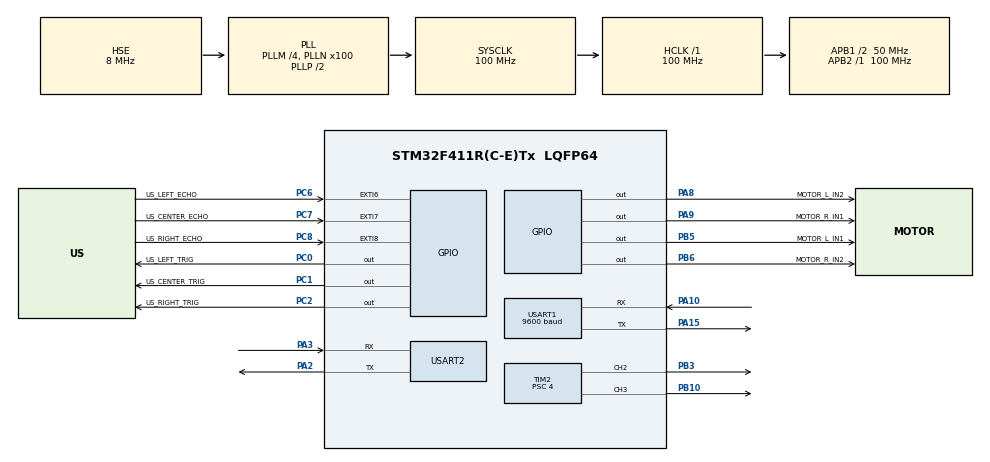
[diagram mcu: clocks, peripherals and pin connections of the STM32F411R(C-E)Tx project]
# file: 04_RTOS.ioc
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FREERTOS.Queues01=manualCmdQueue,8,uint8_t,0,Dynamic,NULL,NULL
FREERTOS.Tasks01=ControlTask,32,256,StartControlTask,Default,NULL,Dynamic,NULL,NULL;UltrasonicTask,24,256,StartUltrasonicTask,Default,NULL,Dynamic,NULL,NULL;BluetoothTask,24,256,StartBluetoothTask,Default,NULL,Dynamic,NULL,NULL;LoggerTask,8,384,StartLoggerTask,Default,NULL,Dynamic,NULL,NULL
FREERTOS.configUSE_NEWLIB_REENTRANT=1
Mcu.Family=STM32F4
Mcu.Name=STM32F411R(C-E)Tx
Mcu.Package=LQFP64
NVIC.EXTI9_5_IRQn=true\:5\:0\:false\:false\:true\:true\:true\:true\:true
NVIC.PriorityGroup=NVIC_PRIORITYGROUP_4
NVIC.TIM5_IRQn=true\:15\:0\:false\:false\:true\:false\:false\:true\:true
NVIC.TimeBase=TIM5_IRQn
NVIC.TimeBaseIP=TIM5
PA10.Mode=Asynchronous
PA10.Signal=USART1_RX
PA13.Mode=Serial_Wire
PA13.Signal=SYS_JTMS-SWDIO
PA14.Mode=Serial_Wire
PA14.Signal=SYS_JTCK-SWCLK
PA15.Mode=Asynchronous
PA15.Signal=USART1_TX
PA2.Mode=Asynchronous
PA2.Signal=USART2_TX
PA3.Mode=Asynchronous
PA3.Signal=USART2_RX
PA8.GPIO_Label=MOTOR_L_IN2
PA8.Signal=GPIO_Output
PA9.GPIO_Label=MOTOR_R_IN1
PA9.Signal=GPIO_Output
PB10.Signal=S_TIM2_CH3
PB3.Signal=S_TIM2_CH2
PB5.GPIO_Label=MOTOR_L_IN1
PB5.Signal=GPIO_Output
PB6.GPIO_Label=MOTOR_R_IN2
PB6.Signal=GPIO_Output
PC0.GPIO_Label=US_LEFT_TRIG
PC0.Signal=GPIO_Output
PC1.GPIO_Label=US_CENTER_TRIG
PC1.Signal=GPIO_Output
PC2.GPIO_Label=US_RIGHT_TRIG
PC2.Signal=GPIO_Output
PC6.GPIO_Label=US_LEFT_ECHO
PC6.GPIO_ModeDefaultEXTI=GPIO_MODE_IT_RISING_FALLING
PC6.Signal=GPXTI6
PC7.GPIO_Label=US_CENTER_ECHO
PC7.GPIO_ModeDefaultEXTI=GPIO_MODE_IT_RISING_FALLING
PC7.Signal=GPXTI7
PC8.GPIO_Label=US_RIGHT_ECHO
PC8.GPIO_ModeDefaultEXTI=GPIO_MODE_IT_RISING_FALLING
PC8.Signal=GPXTI8
PH0\ -\ OSC_IN.Mode=HSE-External-Clock-Source
PH0\ -\ OSC_IN.Signal=RCC_OSC_IN
PH1\ -\ OSC_OUT.Mode=HSE-External-Clock-Source
PH1\ -\ OSC_OUT.Signal=RCC_OSC_OUT
ProjectManager.HeapSize=0x200
ProjectManager.StackSize=0x400
ProjectManager.TargetToolchain=STM32CubeIDE
RCC.48MHZClocksFreq_Value=50000000
RCC.AHBFreq_Value=100000000
RCC.APB1CLKDivider=RCC_HCLK_DIV2
RCC.APB1Freq_Value=50000000
RCC.APB1TimFreq_Value=100000000
RCC.APB2Freq_Value=100000000
RCC.APB2TimFreq_Value=100000000
RCC.CortexFreq_Value=100000000
RCC.HCLKFreq_Value=100000000
RCC.HSE_VALUE=8000000
RCC.HSI_VALUE=16000000
RCC.LSE_VALUE=32768
RCC.PLLM=4
RCC.PLLN=100
RCC.PLLSourceVirtual=RCC_PLLSOURCE_HSE
RCC.SYSCLKFreq_VALUE=100000000
RCC.SYSCLKSource=RCC_SYSCLKSOURCE_PLLCLK
RCC.VCOOutputFreq_Value=200000000
SH.S_TIM2_CH2.0=TIM2_CH2,PWM Generation2 CH2
SH.S_TIM2_CH3.0=TIM2_CH3,PWM Generation3 CH3
TIM2.AutoReloadPreload=TIM_AUTORELOAD_PRELOAD_ENABLE
TIM2.Channel-PWM\ Generation2\ CH2=TIM_CHANNEL_2
TIM2.Channel-PWM\ Generation3\ CH3=TIM_CHANNEL_3
TIM2.Period=999
TIM2.Prescaler=4
TIM4.Prescaler=100-1
USART1.BaudRate=9600
USART1.VirtualMode=VM_ASYNC
USART2.VirtualMode=VM_ASYNC
VP_FREERTOS_VS_CMSIS_V2.Mode=CMSIS_V2
VP_SYS_VS_tim5.Mode=TIM5
VP_TIM2_VS_ClockSourceINT.Mode=Internal
VP_TIM4_VS_ClockSourceINT.Mode=Internal
board=custom

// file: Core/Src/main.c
/* USER CODE BEGIN Header */
/**
  ******************************************************************************
  * @file           : main.c
  * @brief          : Main program body
  ******************************************************************************
  * @attention
  *
  * Copyright (c) 2026 STMicroelectronics.
  * All rights reserved.
  *
  * This software is licensed under terms that can be found in the LICENSE file
  * in the root directory of this software component.
  * If no LICENSE file comes with this software, it is provided AS-IS.
  *
  ******************************************************************************
  */
/* USER CODE END Header */
#include "main.h"
#include "cmsis_os.h"
#include "tim.h"
#include "usart.h"
#include "gpio.h"

/* USER CODE BEGIN Includes */

#include "ultrasonic.h"

/* USER CODE END Includes */

void SystemClock_Config(void);
void MX_FREERTOS_Init(void);

int main(void)
{

  /* MCU Configuration--------------------------------------------------------*/

  /* Reset of all peripherals, Initializes the Flash interface and the Systick. */
  HAL_Init();

  /* Configure the system clock */
  SystemClock_Config();

  /* Initialize all configured peripherals */
  MX_GPIO_Init();
  MX_USART2_UART_Init();
  MX_TIM2_Init();
  MX_TIM4_Init();
  MX_USART1_UART_Init();

  /* Init scheduler */
  osKernelInitialize();  /* Call init function for freertos objects (in cmsis_os2.c) */
  MX_FREERTOS_Init();

  /* Start scheduler */
  osKernelStart();

  /* We should never get here as control is now taken by the scheduler */

  /* Infinite loop */
  while (1)
  {

  }
}

void SystemClock_Config(void)
{
  RCC_OscInitTypeDef RCC_OscInitStruct = {0};
  RCC_ClkInitTypeDef RCC_ClkInitStruct = {0};

  /** Configure the main internal regulator output voltage
  */
  __HAL_RCC_PWR_CLK_ENABLE();
  __HAL_PWR_VOLTAGESCALING_CONFIG(PWR_REGULATOR_VOLTAGE_SCALE1);

  /** Initializes the RCC Oscillators according to the specified parameters
  * in the RCC_OscInitTypeDef structure.
  */
  RCC_OscInitStruct.OscillatorType = RCC_OSCILLATORTYPE_HSE;
  RCC_OscInitStruct.HSEState = RCC_HSE_BYPASS;
  RCC_OscInitStruct.PLL.PLLState = RCC_PLL_ON;
  RCC_OscInitStruct.PLL.PLLSource = RCC_PLLSOURCE_HSE;
  RCC_OscInitStruct.PLL.PLLM = 4;
  RCC_OscInitStruct.PLL.PLLN = 100;
  RCC_OscInitStruct.PLL.PLLP = RCC_PLLP_DIV2;
  RCC_OscInitStruct.PLL.PLLQ = 4;
  if (HAL_RCC_OscConfig(&RCC_OscInitStruct) != HAL_OK)
  {
    Error_Handler();
  }

  /** Initializes the CPU, AHB and APB buses clocks
  */
  RCC_ClkInitStruct.ClockType = RCC_CLOCKTYPE_HCLK|RCC_CLOCKTYPE_SYSCLK
                              |RCC_CLOCKTYPE_PCLK1|RCC_CLOCKTYPE_PCLK2;
  RCC_ClkInitStruct.SYSCLKSource = RCC_SYSCLKSOURCE_PLLCLK;
  RCC_ClkInitStruct.AHBCLKDivider = RCC_SYSCLK_DIV1;
  RCC_ClkInitStruct.APB1CLKDivider = RCC_HCLK_DIV2;
  RCC_ClkInitStruct.APB2CLKDivider = RCC_HCLK_DIV1;

  if (HAL_RCC_ClockConfig(&RCC_ClkInitStruct, FLASH_LATENCY_3) != HAL_OK)
  {
    Error_Handler();
  }
}

/* USER CODE BEGIN 4 */

void HAL_GPIO_EXTI_Callback(uint16_t GPIO_Pin)
{
  Ultrasonic_EXTI_Callback(GPIO_Pin);
}

/* USER CODE END 4 */

void HAL_TIM_PeriodElapsedCallback(TIM_HandleTypeDef *htim)
{
  if (htim->Instance == TIM5)
  {
    HAL_IncTick();
  }
}

void Error_Handler(void)
{
  __disable_irq();
  while (1)
  {
  }
}

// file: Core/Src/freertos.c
/* USER CODE BEGIN Header */
/**
  ******************************************************************************
  * File Name          : freertos.c
  * Description        : Code for freertos applications
  ******************************************************************************
  * @attention
  *
  * Copyright (c) 2026 STMicroelectronics.
  * All rights reserved.
  *
  * This software is licensed under terms that can be found in the LICENSE file
  * in the root directory of this software component.
  * If no LICENSE file comes with this software, it is provided AS-IS.
  *
  ******************************************************************************
  */
/* USER CODE END Header */

#include "FreeRTOS.h"
#include "task.h"
#include "main.h"
#include "cmsis_os.h"

/* USER CODE BEGIN Includes */

#include "usart.h"
#include "tim.h"
#include "pwm.h"
#include "move.h"
#include "ultrasonic.h"
#include "sensor_data.h"

#include <string.h>
#include <stdio.h>

/* USER CODE END Includes */

/* USER CODE BEGIN PTD */

typedef enum
{
  DRIVE_MODE_MANUAL = 0,
  DRIVE_MODE_AUTO
} DriveMode_t;

typedef enum
{
  AUTO_STATE_STOPPED = 0,
  AUTO_STATE_DRIVE,
  AUTO_STATE_STOP_BEFORE_TURN,
  AUTO_STATE_PIVOT_LEFT,
  AUTO_STATE_PIVOT_RIGHT,
  AUTO_STATE_STOP_AFTER_TURN,
  AUTO_STATE_SAFE_STOP
} AutoState_t;

typedef enum
{
  SIDE_AVOID_NONE = 0,
  SIDE_AVOID_LEFT_WALL,
  SIDE_AVOID_RIGHT_WALL
} SideAvoid_t;

/* USER CODE END PTD */

/* USER CODE BEGIN PD */

// AUTO 설정값
#define AUTO_FRONT_STOP_CM             30U
//#define AUTO_FRONT_RESUME_CM           40U
#define AUTO_TURN_CLEAR_CM             45U

#define AUTO_CENTER_MAX_AGE_MS        300U
#define AUTO_SIDE_MAX_AGE_MS          500U

#define AUTO_SIDE_MIN_CLEAR_CM         20U
#define AUTO_SIDE_DIFF_CM               8U

#define AUTO_SIDE_AVOID_ENTER_CM       18U
#define AUTO_SIDE_AVOID_EXIT_CM        23U

#define AUTO_SIDE_AVOID_INNER_PWM      64U
#define AUTO_SIDE_AVOID_OUTER_PWM      74U

#define AUTO_STOP_BEFORE_TURN_MS      150U
#define AUTO_PIVOT_MIN_MS             250U
#define AUTO_PIVOT_MAX_MS            1500U
#define AUTO_STOP_AFTER_TURN_MS       120U

#define AUTO_PIVOT_SPEED_PERCENT       63U

#define AUTO_TURN_DECISION_TIMEOUT_MS 1200U

/* USER CODE END PD */

/* USER CODE BEGIN Variables */

osMessageQueueId_t sensorDataQueueHandle;

/* USER CODE END Variables */
/* Definitions for ControlTask */
osThreadId_t ControlTaskHandle;
const osThreadAttr_t ControlTask_attributes = {
  .name = "ControlTask",
  .stack_size = 256 * 4,
  .priority = (osPriority_t) osPriorityAboveNormal,
};
/* Definitions for UltrasonicTask */
osThreadId_t UltrasonicTaskHandle;
const osThreadAttr_t UltrasonicTask_attributes = {
  .name = "UltrasonicTask",
  .stack_size = 256 * 4,
  .priority = (osPriority_t) osPriorityNormal,
};
/* Definitions for BluetoothTask */
osThreadId_t BluetoothTaskHandle;
const osThreadAttr_t BluetoothTask_attributes = {
  .name = "BluetoothTask",
  .stack_size = 256 * 4,
  .priority = (osPriority_t) osPriorityNormal,
};
/* Definitions for LoggerTask */
osThreadId_t LoggerTaskHandle;
const osThreadAttr_t LoggerTask_attributes = {
  .name = "LoggerTask",
  .stack_size = 384 * 4,
  .priority = (osPriority_t) osPriorityLow,
};
/* Definitions for manualCmdQueue */
osMessageQueueId_t manualCmdQueueHandle;
const osMessageQueueAttr_t manualCmdQueue_attributes = {
  .name = "manualCmdQueue"
};

void StartControlTask(void *argument);
void StartUltrasonicTask(void *argument);
void StartBluetoothTask(void *argument);
void StartLoggerTask(void *argument);

void MX_FREERTOS_Init(void); /* (MISRA C 2004 rule 8.1) */

void MX_FREERTOS_Init(void) {

  /* Create the queue(s) */
  /* creation of manualCmdQueue */
  manualCmdQueueHandle = osMessageQueueNew (8, sizeof(uint8_t), &manualCmdQueue_attributes);

  /* USER CODE BEGIN RTOS_QUEUES */

  sensorDataQueueHandle =
      osMessageQueueNew(
          4U,
          sizeof(SensorData_t),
          NULL);

  /* add queues, ... */
  /* USER CODE END RTOS_QUEUES */

  /* Create the thread(s) */
  /* creation of ControlTask */
  ControlTaskHandle = osThreadNew(StartControlTask, NULL, &ControlTask_attributes);

  /* creation of UltrasonicTask */
  UltrasonicTaskHandle = osThreadNew(StartUltrasonicTask, NULL, &UltrasonicTask_attributes);

  /* creation of BluetoothTask */
  BluetoothTaskHandle = osThreadNew(StartBluetoothTask, NULL, &BluetoothTask_attributes);

  /* creation of LoggerTask */
  LoggerTaskHandle = osThreadNew(StartLoggerTask, NULL, &LoggerTask_attributes);

}

void StartControlTask(void *argument)
{
  /* USER CODE BEGIN StartControlTask */
  /* Infinite loop */

	  uint8_t command;

	  SensorData_t latest_sensor;
	  bool has_sensor_data = false;

	  DriveMode_t drive_mode =
	      DRIVE_MODE_MANUAL;

	  AutoState_t auto_state =
	      AUTO_STATE_STOPPED;

	  bool auto_run_enabled = false;

	  bool left_ok;
	  bool right_ok;

	  bool left_fresh;
	  bool right_fresh;

	  SideAvoid_t side_avoid =
	      SIDE_AVOID_NONE;

	  uint32_t now;
	  uint32_t state_tick = 0U;
	  uint32_t elapsed;

	  uint32_t center_sample_tick;
	  uint32_t last_center_sample_tick =
	      UINT32_MAX;

	  uint8_t turn_clear_count = 0U;

	  if (PWM_Init(&htim2) != HAL_OK)
	  {
	    Move_Stop();

	    for (;;)
	    {
	      osDelay(1000);
	    }
	  }

	  Move_Init();

	  /* MANUAL 기본 속도 */
	  Move_SetSpeed(60U);

	  Move_Stop();

	  for (;;)
	  {
	    now = HAL_GetTick();
	    Move_Task();

	    while (osMessageQueueGet(
	               sensorDataQueueHandle,
	               &latest_sensor,
	               NULL,
	               0U) == osOK)
	    {
	      has_sensor_data = true;
	    }

	    while (osMessageQueueGet(
	               manualCmdQueueHandle,
	               &command,
	               NULL,
	               0U) == osOK)
	    {
	      switch (command)
	      {
	        case 'm':
	        case 'M':

	          Move_Stop();

	          drive_mode =
	              DRIVE_MODE_MANUAL;

	          auto_run_enabled = false;

	          auto_state =
	              AUTO_STATE_STOPPED;

	          side_avoid =
	              SIDE_AVOID_NONE;

	          turn_clear_count = 0U;

	          Move_SetSpeed(75U);

	          break;

	        case 'u':
	        case 'U':

	          Move_Stop();

	          drive_mode =
	              DRIVE_MODE_AUTO;

	          auto_run_enabled = true;

	          auto_state =
	              AUTO_STATE_STOPPED;

	          side_avoid =
	              SIDE_AVOID_NONE;

	          state_tick = now;

	          turn_clear_count = 0U;

	          Move_SetSpeed(74U);

	          break;

	        case 'x':
	        case 'X':

	          Move_Stop();

	          if (drive_mode ==
	              DRIVE_MODE_AUTO)
	          {
	            auto_run_enabled = false;

	            auto_state =
	                AUTO_STATE_STOPPED;
	          }

	          side_avoid =
	              SIDE_AVOID_NONE;

	          break;

	        case 'w':
	        case 'W':

	          if (drive_mode ==
	              DRIVE_MODE_MANUAL)
	          {
	            Move_Forward();
	          }

	          break;

	        case 's':
	        case 'S':

	          if (drive_mode ==
	              DRIVE_MODE_MANUAL)
	          {
	            Move_Backward();
	          }

	          break;

	        case 'a':
	        case 'A':

	          if (drive_mode ==
	              DRIVE_MODE_MANUAL)
	          {
	            Move_Left();
	          }

	          break;

	        case 'd':
	        case 'D':

	          if (drive_mode ==
	              DRIVE_MODE_MANUAL)
	          {
	            Move_Right();
	          }

	          break;

	        default:
	          break;
	      }
	    }

	    if (drive_mode == DRIVE_MODE_AUTO)
	    {
	      if (!auto_run_enabled)
	      {
	        Move_Stop();
	      }

	      else if (!has_sensor_data ||
	               !latest_sensor.center_valid ||
	               latest_sensor.center_timeout ||
	               (latest_sensor.center_age_ms >
	                AUTO_CENTER_MAX_AGE_MS))
	      {
	        Move_Stop();
	      }

	      else
	      {
	        switch (auto_state)
	        {
	          case AUTO_STATE_STOPPED:

	            Move_Stop();

	            if (latest_sensor.center_cm >
	                AUTO_FRONT_STOP_CM)
	            {
	              auto_state =
	                  AUTO_STATE_DRIVE;

	              Move_Forward();
	            }
	            else
	            {
	              auto_state =
	                  AUTO_STATE_STOP_BEFORE_TURN;

	              state_tick = now;
	            }

	            break;

	          case AUTO_STATE_DRIVE:
	            if (latest_sensor.center_cm <=
	                AUTO_FRONT_STOP_CM)
	            {
	              Move_Stop();

	              side_avoid =
	                  SIDE_AVOID_NONE;

	              auto_state =
	                  AUTO_STATE_STOP_BEFORE_TURN;

	              state_tick = now;

	              break;
	            }

	            left_fresh =
	                latest_sensor.left_valid &&
	                !latest_sensor.left_timeout &&
	                (latest_sensor.left_age_ms <=
	                 AUTO_SIDE_MAX_AGE_MS);

	            right_fresh =
	                latest_sensor.right_valid &&
	                !latest_sensor.right_timeout &&
	                (latest_sensor.right_age_ms <=
	                 AUTO_SIDE_MAX_AGE_MS);

	            if (side_avoid ==
	                SIDE_AVOID_LEFT_WALL)
	            {
	              if ((!left_fresh) ||
	                  (latest_sensor.left_cm >=
	                   AUTO_SIDE_AVOID_EXIT_CM))
	              {
	                side_avoid =
	                    SIDE_AVOID_NONE;
	              }
	            }
	            else if (side_avoid ==
	                     SIDE_AVOID_RIGHT_WALL)
	            {
	              if ((!right_fresh) ||
	                  (latest_sensor.right_cm >=
	                   AUTO_SIDE_AVOID_EXIT_CM))
	              {
	                side_avoid =
	                    SIDE_AVOID_NONE;
	              }
	            }

	            if (side_avoid ==
	                SIDE_AVOID_NONE)
	            {
	              if (left_fresh &&
	                  right_fresh &&
	                  (latest_sensor.left_cm <=
	                   AUTO_SIDE_AVOID_ENTER_CM) &&
	                  (latest_sensor.right_cm <=
	                   AUTO_SIDE_AVOID_ENTER_CM))
	              {
	                if (latest_sensor.left_cm <
	                    latest_sensor.right_cm)
	                {
	                  side_avoid =
	                      SIDE_AVOID_LEFT_WALL;
	                }
	                else if (latest_sensor.right_cm <
	                         latest_sensor.left_cm)
	                {
	                  side_avoid =
	                      SIDE_AVOID_RIGHT_WALL;
	                }
	              }
	              else if (left_fresh &&
	                       (latest_sensor.left_cm <=
	                        AUTO_SIDE_AVOID_ENTER_CM))
	              {
	                side_avoid =
	                    SIDE_AVOID_LEFT_WALL;
	              }
	              else if (right_fresh &&
	                       (latest_sensor.right_cm <=
	                        AUTO_SIDE_AVOID_ENTER_CM))
	              {
	                side_avoid =
	                    SIDE_AVOID_RIGHT_WALL;
	              }
	            }

	            if (side_avoid ==
	                SIDE_AVOID_LEFT_WALL)
	            {

	              Move_ForwardPWM(
	                  AUTO_SIDE_AVOID_OUTER_PWM,
	                  AUTO_SIDE_AVOID_INNER_PWM);
	            }
	            else if (side_avoid ==
	                     SIDE_AVOID_RIGHT_WALL)
	            {

	              Move_ForwardPWM(
	                  AUTO_SIDE_AVOID_INNER_PWM,
	                  AUTO_SIDE_AVOID_OUTER_PWM);
	            }
	            else
	            {
	              Move_Forward();
	            }

	            break;

	          case AUTO_STATE_STOP_BEFORE_TURN:

	            Move_Stop();

	            elapsed =
	                (uint32_t)(now - state_tick);

	            if (elapsed <
	                AUTO_STOP_BEFORE_TURN_MS)
	            {
	              break;
	            }

	            left_ok =
	                latest_sensor.left_valid &&
	                !latest_sensor.left_timeout &&
	                (latest_sensor.left_age_ms <=
	                 AUTO_SIDE_MAX_AGE_MS) &&
	                (latest_sensor.left_cm >=
	                 AUTO_SIDE_MIN_CLEAR_CM);

	            right_ok =
	                latest_sensor.right_valid &&
	                !latest_sensor.right_timeout &&
	                (latest_sensor.right_age_ms <=
	                 AUTO_SIDE_MAX_AGE_MS) &&
	                (latest_sensor.right_cm >=
	                 AUTO_SIDE_MIN_CLEAR_CM);

	            if (left_ok && right_ok)
	            {
	              if (latest_sensor.left_cm >=
	                  (uint16_t)(
	                      latest_sensor.right_cm +
	                      AUTO_SIDE_DIFF_CM))
	              {
	                auto_state =
	                    AUTO_STATE_PIVOT_LEFT;
	              }

	              else if (latest_sensor.right_cm >=
	                       (uint16_t)(
	                           latest_sensor.left_cm +
	                           AUTO_SIDE_DIFF_CM))
	              {
	                auto_state =
	                    AUTO_STATE_PIVOT_RIGHT;
	              }

	              else
	              {
	                if (elapsed <
	                    AUTO_TURN_DECISION_TIMEOUT_MS)
	                {
	                  break;
	                }

	                if (latest_sensor.left_cm >
	                    latest_sensor.right_cm)
	                {
	                  auto_state =
	                      AUTO_STATE_PIVOT_LEFT;
	                }
	                else
	                {
	                  auto_state =
	                      AUTO_STATE_PIVOT_RIGHT;
	                }
	              }
	            }

	            else if (left_ok)
	            {
	              auto_state =
	                  AUTO_STATE_PIVOT_LEFT;
	            }

	            else if (right_ok)
	            {
	              auto_state =
	                  AUTO_STATE_PIVOT_RIGHT;
	            }

	            else
	            {
	              Move_Stop();

	              if (elapsed <
	                  AUTO_TURN_DECISION_TIMEOUT_MS)
	              {
	                break;
	              }

	              if (latest_sensor.left_cm >
	                  latest_sensor.right_cm)
	              {
	                auto_state =
	                    AUTO_STATE_PIVOT_LEFT;
	              }
	              else
	              {
	                auto_state =
	                    AUTO_STATE_PIVOT_RIGHT;
	              }
	            }

	            state_tick = now;

	            turn_clear_count = 0U;

	            last_center_sample_tick =
	                now -
	                latest_sensor.center_age_ms;

	            if (auto_state ==
	                AUTO_STATE_PIVOT_LEFT)
	            {
	              Move_PivotLeft(
	                  AUTO_PIVOT_SPEED_PERCENT);
	            }
	            else
	            {
	              Move_PivotRight(
	                  AUTO_PIVOT_SPEED_PERCENT);
	            }

	            break;

	          case AUTO_STATE_PIVOT_LEFT:

	            elapsed =
	                (uint32_t)(now - state_tick);

	            if (elapsed >=
	                AUTO_PIVOT_MAX_MS)
	            {
	              Move_Stop();

	              auto_state =
	                  AUTO_STATE_SAFE_STOP;

	              auto_run_enabled = false;

	              break;
	            }

	            if (elapsed >=
	                AUTO_PIVOT_MIN_MS)
	            {
	              center_sample_tick =
	                  now -
	                  latest_sensor.center_age_ms;

	              if (center_sample_tick !=
	                  last_center_sample_tick)
	              {
	                last_center_sample_tick =
	                    center_sample_tick;

	                if (latest_sensor.center_cm >=
	                    AUTO_TURN_CLEAR_CM)
	                {
	                  if (turn_clear_count < 2U)
	                  {
	                    turn_clear_count++;
	                  }
	                }
	                else
	                {
	                  turn_clear_count = 0U;
	                }
	              }

	              if (turn_clear_count >= 2U)
	              {
	                Move_Stop();

	                auto_state =
	                    AUTO_STATE_STOP_AFTER_TURN;

	                state_tick = now;

	                turn_clear_count = 0U;
	              }
	            }

	            break;

	          case AUTO_STATE_PIVOT_RIGHT:

	            elapsed =
	                (uint32_t)(now - state_tick);

	            if (elapsed >=
	                AUTO_PIVOT_MAX_MS)
	            {
	              Move_Stop();

	              auto_state =
	                  AUTO_STATE_SAFE_STOP;

	              auto_run_enabled = false;

	              break;
	            }

	            if (elapsed >=
	                AUTO_PIVOT_MIN_MS)
	            {
	              center_sample_tick =
	                  now -
	                  latest_sensor.center_age_ms;

	              if (center_sample_tick !=
	                  last_center_sample_tick)
	              {
	                last_center_sample_tick =
	                    center_sample_tick;

	                if (latest_sensor.center_cm >=
	                    AUTO_TURN_CLEAR_CM)
	                {
	                  if (turn_clear_count < 2U)
	                  {
	                    turn_clear_count++;
	                  }
	                }
	                else
	                {
	                  turn_clear_count = 0U;
	                }
	              }

	              if (turn_clear_count >= 2U)
	              {
	                Move_Stop();

	                auto_state =
	                    AUTO_STATE_STOP_AFTER_TURN;

	                state_tick = now;

	                turn_clear_count = 0U;
	              }
	            }

	            break;

	          case AUTO_STATE_STOP_AFTER_TURN:

	        	  Move_Stop();

	        	  elapsed =
	        	      (uint32_t)(now - state_tick);

	        	  if (elapsed >=
	        	      AUTO_STOP_AFTER_TURN_MS)
	        	  {
	        	    if (latest_sensor.center_cm >
	        	        AUTO_FRONT_STOP_CM)
	        	    {
	        	      auto_state =
	        	          AUTO_STATE_DRIVE;

	        	      Move_Forward();
	        	    }
	        	    else
	        	    {

	        	      auto_state =
	        	          AUTO_STATE_STOP_BEFORE_TURN;

	        	      state_tick = now;

	        	      side_avoid =
	        	          SIDE_AVOID_NONE;

	        	      turn_clear_count = 0U;
	        	    }
	        	  }

	        	  break;

	          case AUTO_STATE_SAFE_STOP:
	          default:

	            Move_Stop();

	            auto_run_enabled = false;

	            break;
	        }
	      }
	    }

	    osDelay(2);
	  }

  /* USER CODE END StartControlTask */
}

void StartUltrasonicTask(void *argument)
{
  /* USER CODE BEGIN StartUltrasonicTask */
  /* Infinite loop */

	  UltrasonicReading_t left;
	  UltrasonicReading_t center;
	  UltrasonicReading_t right;

	  SensorData_t sensor_data;
	  SensorData_t discarded_data;

	  if (Ultrasonic_Init(&htim4) != HAL_OK)
	  {
	    for (;;)
	    {
	      osDelay(1000);
	    }
	  }

	  for (;;)
	  {
	    Ultrasonic_Task();

	    Ultrasonic_GetReading(
	        ULTRASONIC_LEFT,
	        &left);

	    Ultrasonic_GetReading(
	        ULTRASONIC_CENTER,
	        &center);

	    Ultrasonic_GetReading(
	        ULTRASONIC_RIGHT,
	        &right);

	    if (left.has_measurement &&
	        center.has_measurement &&
	        right.has_measurement)
	    {
	      sensor_data.left_cm =
	          left.distance_cm;

	      sensor_data.center_cm =
	          center.distance_cm;

	      sensor_data.right_cm =
	          right.distance_cm;

	      sensor_data.left_valid =
	          !left.timeout;

	      sensor_data.center_valid =
	          !center.timeout;

	      sensor_data.right_valid =
	          !right.timeout;

	      sensor_data.left_timeout =
	          left.timeout;

	      sensor_data.center_timeout =
	          center.timeout;

	      sensor_data.right_timeout =
	          right.timeout;

	      sensor_data.left_age_ms =
	          left.age_ms;

	      sensor_data.center_age_ms =
	          center.age_ms;

	      sensor_data.right_age_ms =
	          right.age_ms;

	      if (osMessageQueuePut(
	              sensorDataQueueHandle,
	              &sensor_data,
	              0U,
	              0U) != osOK)
	      {
	        (void)osMessageQueueGet(
	            sensorDataQueueHandle,
	            &discarded_data,
	            NULL,
	            0U);

	        (void)osMessageQueuePut(
	            sensorDataQueueHandle,
	            &sensor_data,
	            0U,
	            0U);
	      }
	    }

	    osDelay(5);
	  }

  /* USER CODE END StartUltrasonicTask */
}

void StartBluetoothTask(void *argument)
{
  /* USER CODE BEGIN StartBluetoothTask */
  /* Infinite loop */

	  uint8_t rx_byte;
	  osStatus_t queue_status;

	  for (;;)
	  {
	    if (HAL_UART_Receive(
	            &huart1,
	            &rx_byte,
	            1U,
	            0U) == HAL_OK)
	    {
	      switch (rx_byte)
	      {
	        case 'w':
	        case 'W':

	        case 's':
	        case 'S':

	        case 'a':
	        case 'A':

	        case 'd':
	        case 'D':

	        case 'x':
	        case 'X':

	        case 'm':
	        case 'M':

	        case 'u':
	        case 'U':

	          queue_status =
	              osMessageQueuePut(
	                  manualCmdQueueHandle,
	                  &rx_byte,
	                  0U,
	                  0U);

	          if (queue_status != osOK)
	          {
	            (void)osMessageQueueReset(
	                manualCmdQueueHandle);

	            (void)osMessageQueuePut(
	                manualCmdQueueHandle,
	                &rx_byte,
	                0U,
	                0U);
	          }

	          break;

	        default:
	          break;
	      }
	    }

	    osDelay(2);
	  }

  /* USER CODE END StartBluetoothTask */
}

void StartLoggerTask(void *argument)
{
  /* USER CODE BEGIN StartLoggerTask */
  /* Infinite loop */

	  UltrasonicReading_t left;
	  UltrasonicReading_t center;
	  UltrasonicReading_t right;

	  char msg[128];

	  for (;;)
	  {
	    Ultrasonic_GetReading(
	        ULTRASONIC_LEFT,
	        &left);

	    Ultrasonic_GetReading(
	        ULTRASONIC_CENTER,
	        &center);

	    Ultrasonic_GetReading(
	        ULTRASONIC_RIGHT,
	        &right);

	    snprintf(
	        msg,
	        sizeof(msg),
	        "[US] L=%u%s C=%u%s R=%u%s\r\n",
	        left.distance_cm,
	        left.timeout ? "(TO)" : "",
	        center.distance_cm,
	        center.timeout ? "(TO)" : "",
	        right.distance_cm,
	        right.timeout ? "(TO)" : "");

	    HAL_UART_Transmit(
	        &huart2,
	        (uint8_t *)msg,
	        (uint16_t)strlen(msg),
	        100U);

	    osDelay(300);
	  }

  /* USER CODE END StartLoggerTask */
}
